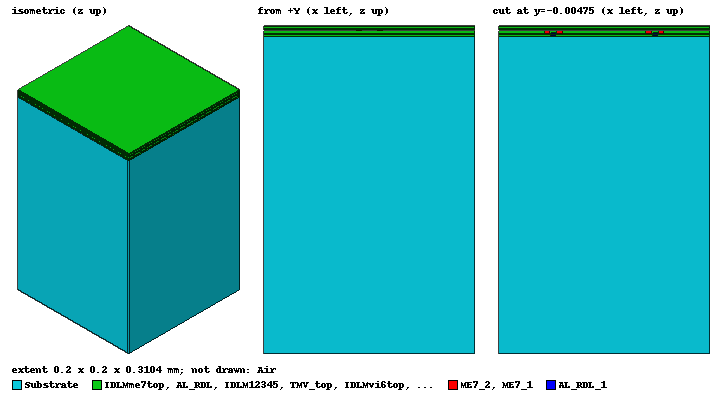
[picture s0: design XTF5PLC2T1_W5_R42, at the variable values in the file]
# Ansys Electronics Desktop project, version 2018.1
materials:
  vacuum: permittivity=1
  UMC40_SI: permittivity=11.9 permeability=1 conductivity=10 lande_g_factor=2
  UMC40_IDL: permittivity=2.6 permeability=1 conductivity=10 lande_g_factor=2
  UMC40_IDL2p6: permittivity=2.6 permeability=1 conductivity=10 lande_g_factor=2
  UMC40_IDL4p2: permittivity=4.2 permeability=1 conductivity=10 lande_g_factor=2
  UMC40_IDL5: permittivity=5 permeability=1 conductivity=10 lande_g_factor=2
  UMC40_IDL7: permittivity=7 permeability=1 conductivity=10 lande_g_factor=2
  ME1: permittivity=1 permeability=1 conductivity=30300000 lande_g_factor=2
  ME2: permittivity=1 permeability=1 conductivity=30300000 lande_g_factor=2
  ME3: permittivity=1 permeability=1 conductivity=30300000 lande_g_factor=2
  ME4: permittivity=1 permeability=1 conductivity=30300000 lande_g_factor=2
  ME5: permittivity=1 permeability=1 conductivity=30300000 lande_g_factor=2
  ME6: permittivity=1 permeability=1 conductivity=30300000 lande_g_factor=2
  ME7: permittivity=1 permeability=1 conductivity=30300000 lande_g_factor=2
  AL_RDL: permittivity=1 permeability=1 conductivity=30300000 lande_g_factor=2
  TMV_RDL: permittivity=1 permeability=1 conductivity=3143000 lande_g_factor=2
  VI6: permittivity=1 permeability=1 conductivity=1160000 lande_g_factor=2
  VI5: permittivity=1 permeability=1 conductivity=1160000 lande_g_factor=2
  VI4: permittivity=1 permeability=1 conductivity=1160000 lande_g_factor=2
  VI3: permittivity=1 permeability=1 conductivity=1160000 lande_g_factor=2
  VI2: permittivity=1 permeability=1 conductivity=1160000 lande_g_factor=2
  VI1: permittivity=1 permeability=1 conductivity=1160000 lande_g_factor=2
  air: permittivity=1.0006 permeability=1.0000004
  default_via_material: permeability=0.999991 conductivity=58000000
  default_via_material0: permeability=0.999991 conductivity=58000000
  default_via_material1: permeability=0.999991 conductivity=58000000
  default_via_material2: permeability=0.999991 conductivity=58000000
  default_via_material3: permeability=0.999991 conductivity=58000000
  default_via_material4: permeability=0.999991 conductivity=58000000
  default_via_material5: permeability=0.999991 conductivity=58000000
  default_via_material6: permeability=0.999991 conductivity=58000000
  default_via_material7: permeability=0.999991 conductivity=58000000
  default_via_material8: permeability=0.999991 conductivity=58000000
  default_via_material9: permeability=0.999991 conductivity=58000000
  default_via_material10: permeability=0.999991 conductivity=58000000
  default_via_material11: permeability=0.999991 conductivity=58000000
  default_via_material12: permeability=0.999991 conductivity=58000000
  default_via_material13: permeability=0.999991 conductivity=58000000

design XTF5PLC2T1_W5_R42 (HFSS, DrivenModal, model units mm)
options: Allow_Material_Override
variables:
  extent_x_pos = -0.1mm
  extent_y_pos = -0.09mm
  extent_x_size = 0.2mm
  extent_y_size = 0.18mm
  ME1_thickness = 0.00014mm
  ME1_lower_elevation = 0.30033mm
  extent_x_pos_1 = -0.1mm
  extent_y_pos_1 = -0.09mm
  extent_x_size_1 = 0.2mm
  extent_y_size_1 = 0.18mm
  ME2_thickness = 0.00014mm
  ME2_lower_elevation = 0.300575mm
  extent_x_pos_2 = 1000mm
  extent_y_pos_2 = 1000mm
  extent_x_size_2 = -1000mm
  extent_y_size_2 = -1000mm
  ME3_thickness = 0.00014mm
  ME3_lower_elevation = 0.300092mm
  extent_x_pos_3 = 1000mm
  extent_y_pos_3 = 1000mm
  extent_x_size_3 = -1000mm
  extent_y_size_3 = -1000mm
  ME4_thickness = 0.00014mm
  ME4_lower_elevation = 0.301095mm
  extent_x_pos_4 = 1000mm
  extent_y_pos_4 = 1000mm
  extent_x_size_4 = -1000mm
  extent_y_size_4 = -1000mm
  ME5_thickness = 0.00014mm
  ME5_lower_elevation = 0.301355mm
  extent_x_pos_5 = -0.011mm
  extent_y_pos_5 = -0.066mm
  extent_x_size_5 = 0.022mm
  extent_y_size_5 = 0.1225mm
  ME6_thickness = 0.00014mm
  ME6_lower_elevation = 0.301615mm
  extent_x_pos_6 = -0.0565mm
  extent_y_pos_6 = -0.066mm
  extent_x_size_6 = 0.113mm
  extent_y_size_6 = 0.1225mm
  ME7_thickness = 0.0034mm
  ME7_lower_elevation = 0.302345mm
  extent_x_pos_7 = -0.0505mm
  extent_y_pos_7 = -0.0505mm
  extent_x_size_7 = 0.101mm
  extent_y_size_7 = 0.1105mm
  AL_RDL_thickness = 0.0032mm
  AL_RDL_lower_elevation = 0.300515mm
  extent_x_pos_8 = 1000mm
  extent_y_pos_8 = 1000mm
  extent_x_size_8 = -1000mm
  extent_y_size_8 = -1000mm
  TMV_RDL_thickness = 0.00077mm
  TMV_RDL_lower_elevation = 0.305745mm
  extent_x_pos_9 = -0.011mm
  extent_y_pos_9 = -0.0445mm
  extent_x_size_9 = 0.022mm
  extent_y_size_9 = 0.101mm
  VI6_thickness = 0.00059mm
  VI6_lower_elevation = 0.301755mm
  extent_x_pos_10 = 1000mm
  extent_y_pos_10 = 1000mm
  extent_x_size_10 = -1000mm
  extent_y_size_10 = -1000mm
  VI5_thickness = 0.000115mm
  VI5_lower_elevation = 0.301495mm
  extent_x_pos_11 = 1000mm
  extent_y_pos_11 = 1000mm
  extent_x_size_11 = -1000mm
  extent_y_size_11 = -1000mm
  VI4_thickness = 0.00012mm
  VI4_lower_elevation = 0.301235mm
  extent_x_pos_12 = 1000mm
  extent_y_pos_12 = 1000mm
  extent_x_size_12 = -1000mm
  extent_y_size_12 = -1000mm
  VI3_thickness = 0.00012mm
  VI3_lower_elevation = 0.300985mm
  extent_x_pos_13 = 1000mm
  extent_y_pos_13 = 1000mm
  extent_x_size_13 = -1000mm
  extent_y_size_13 = -1000mm
  VI2_thickness = 0.00012mm
  VI2_lower_elevation = 0.300715mm
  extent_x_pos_14 = 1000mm
  extent_y_pos_14 = 1000mm
  extent_x_size_14 = -1000mm
  extent_y_size_14 = -1000mm
  VI1_thickness = 0.00012mm
  VI1_lower_elevation = 0.300455mm
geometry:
  Substrate [UMC40_SI] = box(corner=(-100um, -100um, 0um), size=(200um, 200um, 300um))
  IDLM12345 [UMC40_IDL] = box(corner=(-100um, -100um, 300um), size=(200um, 200um, 1.67um))
  IDLM6 [UMC40_IDL2p6] = box(corner=(-100um, -100um, 301.67um), size=(200um, 200um, 0.14um))
  IDLMvi6sub [UMC40_IDL5] = box(corner=(-100um, -100um, 301.75um), size=(200um, 200um, 0.06um))
  IDLMvi6top [UMC40_IDL4p2] = box(corner=(-100um, -100um, 301.81um), size=(200um, 200um, 0.53um))
  IDLMme7sub [UMC40_IDL5] = box(corner=(-100um, -100um, 302.34um), size=(200um, 200um, 0.2um))
  IDLMme7top [UMC40_IDL4p2] = box(corner=(-100um, -100um, 302.54um), size=(200um, 200um, 3.2um))
  TMV_sub [UMC40_IDL7] = box(corner=(-100um, -100um, 305.745um), size=(200um, 200um, 0.07um))
  TMV_top [UMC40_IDL4p2] = box(corner=(-100um, -100um, 306.515um), size=(200um, 200um, 0.7um))
  AL_RDL [AL_RDL] = box(corner=(-100um, -100um, 307.215um), size=(200um, 200um, 3.2um))
  PSV [UMC40_IDL7] = box(corner=(-100um, -100um, 309.715um), size=(200um, 200um, 0.5um))
  Air [Air] = box(corner=(-200um, -200um, -100um), size=(400um, 400um, 400um))
  ME1_1 [ME1] = polyline(z=ME1_lower_elevation, xy in mm: (0.1, -0.09) (0.1, 0.09) (-0.1, 0.09) (-0.1, -0.09) (0.1, -0.09), closed, covered)
  void = polyline(z=ME1_lower_elevation, xy in mm: (0.079, 0.06) (-0.079, 0.06) (-0.079, -0.066) (0.079, -0.066) (0.079, 0.06), closed, covered)
  ME1_1.subtract(void)
  ME1_1.sweep_along_vector((0mm, 0mm, ME1_thickness))
  ME2_1 [ME2] = polyline(z=ME2_lower_elevation, xy in mm: (0.1, -0.09) (0.1, 0.09) (-0.1, 0.09) (-0.1, -0.09) (0.1, -0.09), closed, covered)
  void_1 = polyline(z=ME2_lower_elevation, xy in mm: (0.079, 0.06) (-0.079, 0.06) (-0.079, -0.066) (0.079, -0.066) (0.079, 0.06), closed, covered)
  ME6_1 [ME6] = polyline(z=ME6_lower_elevation, xy in mm: (-0.0025, -0.066) (0.0025, -0.066) (0.0025, -0.0395) (-0.0025, -0.0395) (-0.0025, -0.066), closed, covered)
  ME6_1.sweep_along_vector((0mm, 0mm, ME6_thickness))
  ME6_2 [ME6] = polyline(z=ME6_lower_elevation, xy in mm: (0.011, 0.0395) (0.011, 0.0445) (0.007035, 0.0445) (-0.004965, 0.0565) (-0.011, 0.0565) (-0.011, 0.0515) (-0.007035, 0.0515) (0.004965, 0.0395) (0.011, 0.0395), closed, covered)
  ME6_2.sweep_along_vector((0mm, 0mm, ME6_thickness))
  ME6_3 [ME6] = polyline(z=ME6_lower_elevation, xy in mm: (-0.0025, -0.066) (0.0025, -0.066) (0.0025, -0.061) (-0.0025, -0.061) (-0.0025, -0.066), closed, covered)
  ME6_3.sweep_along_vector((0mm, 0mm, ME6_thickness))
  ME7_1 [ME7] = polyline(z=ME7_lower_elevation, xy in mm: (-0.006, 0.0515) (-0.006, 0.0565) (-0.02354, 0.0565) (-0.0565, 0.02354) (-0.0565, -0.02354) (-0.02354, -0.0565) (-0.0125, -0.0565) (-0.0125, -0.066) (-0.0075, -0.066) (-0.0075, -0.052965) (-0.008965, -0.0515) (-0.02147, -0.0515) (-0.0515, -0.02147) (-0.0515, 0.02147) (-0.02147, 0.0515) (-0.006, 0.0515), closed, covered)
  ME7_1.sweep_along_vector((0mm, 0mm, ME7_thickness))
  ME7_2 [ME7] = polyline(z=ME7_lower_elevation, xy in mm: (0.0565, -0.02354) (0.0565, 0.02354) (0.02354, 0.0565) (0.004965, 0.0565) (-0.007035, 0.0445) (-0.01854, 0.0445) (-0.0445, 0.01854) (-0.0445, -0.01854) (-0.01854, -0.0445) (0.01854, -0.0445) (0.0445, -0.01854) (0.0445, 0.01854) (0.01854, 0.0445) (0.006, 0.0445) (0.006, 0.0395) (0.01647, 0.0395) (0.0395, 0.01647) (0.0395, -0.01647) (0.01647, -0.0395) (-0.01647, -0.0395) (-0.0395, -0.01647) (-0.0395, 0.01647) (-0.01647, 0.0395) (-0.004965, 0.0395) (0.007035, 0.0515) (0.02147, 0.0515) (0.0515, 0.02147) (0.0515, -0.02147) (0.02147, -0.0515) (0.008965, -0.0515) (0.0075, -0.052965) (0.0075, -0.066) (0.0125, -0.066) (0.0125, -0.0565) (0.02354, -0.0565) (0.0565, -0.02354), closed, covered)
  ME7_2.sweep_along_vector((0mm, 0mm, ME7_thickness))
  ME7_3 [ME7] = polyline(z=ME7_lower_elevation, xy in mm: (0.0075, -0.066) (0.0125, -0.066) (0.0125, -0.061) (0.0075, -0.061) (0.0075, -0.066), closed, covered)
  ME7_3.sweep_along_vector((0mm, 0mm, ME7_thickness))
  ME7_4 [ME7] = polyline(z=ME7_lower_elevation, xy in mm: (-0.0125, -0.066) (-0.0075, -0.066) (-0.0075, -0.061) (-0.0125, -0.061) (-0.0125, -0.066), closed, covered)
  ME7_4.sweep_along_vector((0mm, 0mm, ME7_thickness))
  AL_RDL_1 [AL_RDL] = polyline(z=AL_RDL_lower_elevation, xy in mm: (0.0505, -0.02104) (0.0505, 0.02104) (0.02104, 0.0505) (0.0125, 0.0505) (0.0125, 0.06) (0.0075, 0.06) (0.0075, 0.046965) (0.008965, 0.0455) (0.01897, 0.0455) (0.0455, 0.01897) (0.0455, -0.01897) (0.01897, -0.0455) (-0.01897, -0.0455) (-0.0455, -0.01897) (-0.0455, 0.01897) (-0.01897, 0.0455) (-0.0075, 0.0455) (-0.0075, 0.06) (-0.0125, 0.06) (-0.0125, 0.0505) (-0.02104, 0.0505) (-0.0505, 0.02104) (-0.0505, -0.02104) (-0.02104, -0.0505) (0.02104, -0.0505) (0.0505, -0.02104), closed, covered)
  AL_RDL_1.sweep_along_vector((0mm, 0mm, AL_RDL_thickness))
  AL_RDL_2 [AL_RDL] = polyline(z=AL_RDL_lower_elevation, xy in mm: (0.0075, 0.055) (0.0125, 0.055) (0.0125, 0.06) (0.0075, 0.06) (0.0075, 0.055), closed, covered)
  AL_RDL_2.sweep_along_vector((0mm, 0mm, AL_RDL_thickness))
  AL_RDL_3 [AL_RDL] = polyline(z=AL_RDL_lower_elevation, xy in mm: (-0.0125, 0.055) (-0.0075, 0.055) (-0.0075, 0.06) (-0.0125, 0.06) (-0.0125, 0.055), closed, covered)
  AL_RDL_3.sweep_along_vector((0mm, 0mm, AL_RDL_thickness))
  VI6_1 [VI6] = polyline(z=VI6_lower_elevation, xy in mm: (0.006, 0.0395) (0.011, 0.0395) (0.011, 0.0445) (0.006, 0.0445) (0.006, 0.0395), closed, covered)
  VI6_1.sweep_along_vector((0mm, 0mm, VI6_thickness))
  VI6_2 [VI6] = polyline(z=VI6_lower_elevation, xy in mm: (-0.0025, -0.0445) (0.0025, -0.0445) (0.0025, -0.0395) (-0.0025, -0.0395) (-0.0025, -0.0445), closed, covered)
  VI6_2.sweep_along_vector((0mm, 0mm, VI6_thickness))
  VI6_3 [VI6] = polyline(z=VI6_lower_elevation, xy in mm: (-0.011, 0.0515) (-0.006, 0.0515) (-0.006, 0.0565) (-0.011, 0.0565) (-0.011, 0.0515), closed, covered)
  VI6_3.sweep_along_vector((0mm, 0mm, VI6_thickness))
  pa = rectangle(corner=(-12.5um, -66um, 300.715um), z_size=1.63um, x_size=5um)
  pb = rectangle(corner=(7.5um, -66um, 300.715um), z_size=1.63um, x_size=5um)
  pc = rectangle(corner=(-12.5um, 60um, 300.715um), z_size=5.8um, x_size=5um)
  pd = rectangle(corner=(7.5um, 60um, 300.715um), z_size=5.8um, x_size=5um)
  ct = rectangle(corner=(-2.5um, -66um, 300.715um), z_size=0.9um, x_size=5um)
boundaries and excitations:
  Rad1: Radiation Faces=Air.face(all 6)
  1: Lumped Port Objects=pa Modes{Mode1{IntLine{middle of pa.edge(z at corner) -> middle of pa.edge(z opposite corner)} CharImp=Zpi RenormImp=50ohm}} Impedance=50ohm
  2: Lumped Port Objects=pb Modes{Mode1{IntLine{middle of pb.edge(z at corner) -> middle of pb.edge(z opposite corner)} CharImp=Zpi RenormImp=50ohm}} Impedance=50ohm
  3: Lumped Port Objects=pc Modes{Mode1{IntLine{middle of pc.edge(z at corner) -> middle of pc.edge(z opposite corner)} CharImp=Zpi RenormImp=50ohm}} Impedance=50ohm
  4: Lumped Port Objects=pd Modes{Mode1{IntLine{middle of pd.edge(z at corner) -> middle of pd.edge(z opposite corner)} CharImp=Zpi RenormImp=50ohm}} Impedance=50ohm
  5: Lumped Port Objects=ct Modes{Mode1{IntLine{middle of ct.edge(z at corner) -> middle of ct.edge(z opposite corner)} CharImp=Zpi RenormImp=50ohm}} Impedance=50ohm
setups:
  Setup1: HfssDriven Frequency=140000000000Hz MaxDeltaS=0.02 MaximumPasses=20 MinimumPasses=2 MinimumConvergedPasses=2 PercentRefinement=30 BasisOrder=2 Target=0.6667 PortAccuracy=2
    sweep Sweep1: 0Hz to 180000000000Hz step 10000000000Hz; Type=Interpolating InterpTolerance=0.5 InterpMaxSolns=250 MinSolvedFreq=0.01GHz InterpUsePortImped=false PassivityErrorTolerance=0.0001
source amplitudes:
  1:1: 1W 0deg
  2:1, 3:1, 4:1, 5:1: 0W 0deg
